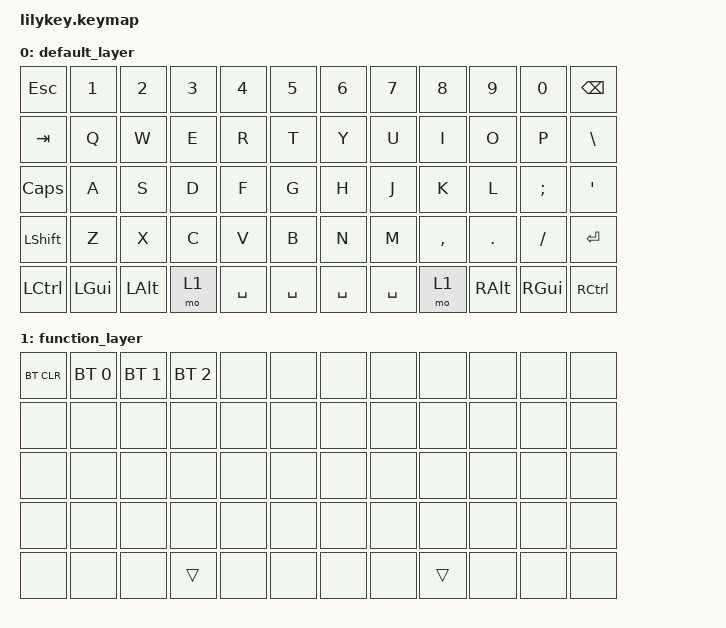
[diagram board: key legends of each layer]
#include <behaviors.dtsi>
#include <dt-bindings/zmk/keys.h>
#include <dt-bindings/zmk/bt.h>

/ {
    keymap {
        compatible = "zmk,keymap";

        default_layer {
            bindings = <
                &kp ESC   &kp N1   &kp N2   &kp N3    &kp N4    &kp N5        &kp N6    &kp N7    &kp N8    &kp N9   &kp N0   &kp BSPC
                &kp TAB   &kp Q    &kp W    &kp E     &kp R     &kp T         &kp Y     &kp U     &kp I     &kp O    &kp P    &kp BSLH
                &kp CLCK  &kp A    &kp S    &kp D     &kp F     &kp G         &kp H     &kp J     &kp K     &kp L    &kp SEMI &kp SQT
                &kp LSHFT &kp Z    &kp X    &kp C     &kp V     &kp B         &kp N     &kp M     &kp COMMA &kp DOT  &kp FSLH &kp RET
                &kp LCTRL &kp LGUI &kp LALT &mo 1     &kp SPACE &kp SPACE     &kp SPACE &kp SPACE &mo 1     &kp RALT &kp RGUI &kp RCTRL
            >;
        };

        function_layer {
            bindings = <
                &bt BT_CLR &bt BT_SEL 0 &bt BT_SEL 1 &bt BT_SEL 2 &none &none    &none &none &none &none &none &none
                &none      &none        &none        &none        &none &none    &none &none &none &none &none &none
                &none      &none        &none        &none        &none &none    &none &none &none &none &none &none
                &none      &none        &none        &none        &none &none    &none &none &none &none &none &none
                &none      &none        &none        &trans       &none &none    &none &none &trans &none &none &none
            >;
        };
    };
};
